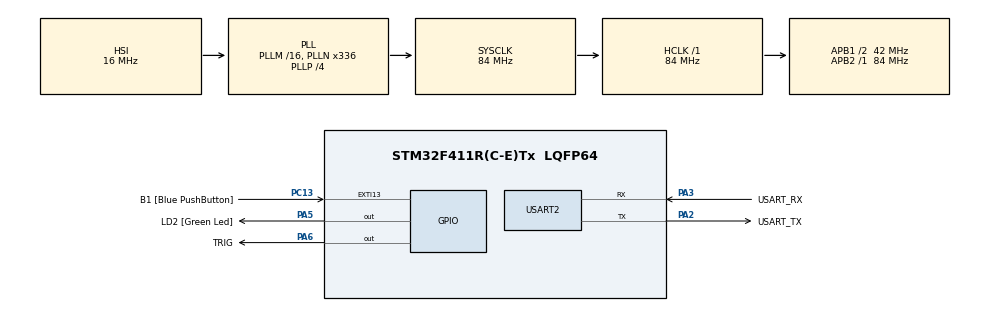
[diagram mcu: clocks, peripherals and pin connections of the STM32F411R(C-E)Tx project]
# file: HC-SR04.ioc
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Mcu.Family=STM32F4
Mcu.Name=STM32F411R(C-E)Tx
Mcu.Package=LQFP64
NVIC.PriorityGroup=NVIC_PRIORITYGROUP_0
NVIC.TIM4_IRQn=true\:0\:0\:false\:false\:true\:true\:true\:true
PA13.GPIO_Label=TMS
PA13.Mode=Serial_Wire
PA13.Signal=SYS_JTMS-SWDIO
PA14.GPIO_Label=TCK
PA14.Mode=Serial_Wire
PA14.Signal=SYS_JTCK-SWCLK
PA2.GPIO_Label=USART_TX
PA2.Mode=Asynchronous
PA2.Signal=USART2_TX
PA3.GPIO_Label=USART_RX
PA3.Mode=Asynchronous
PA3.Signal=USART2_RX
PA5.GPIO_Label=LD2 [Green Led]
PA5.Signal=GPIO_Output
PA6.GPIO_Label=TRIG
PA6.GPIO_Speed=GPIO_SPEED_FREQ_VERY_HIGH
PA6.Signal=GPIO_Output
PB3.GPIO_Label=SWO
PB3.Signal=SYS_JTDO-SWO
PC13-ANTI_TAMP.GPIO_Label=B1 [Blue PushButton]
PC13-ANTI_TAMP.GPIO_ModeDefaultEXTI=GPIO_MODE_IT_FALLING
PC13-ANTI_TAMP.Signal=GPXTI13
PC14-OSC32_IN.Mode=LSE-External-Oscillator
PC14-OSC32_IN.Signal=RCC_OSC32_IN
PC15-OSC32_OUT.Mode=LSE-External-Oscillator
PC15-OSC32_OUT.Signal=RCC_OSC32_OUT
PH0\ -\ OSC_IN.Mode=HSE-External-Clock-Source
PH0\ -\ OSC_IN.Signal=RCC_OSC_IN
PH1\ -\ OSC_OUT.Mode=HSE-External-Clock-Source
PH1\ -\ OSC_OUT.Signal=RCC_OSC_OUT
ProjectManager.HeapSize=0x200
ProjectManager.StackSize=0x400
ProjectManager.TargetToolchain=STM32CubeIDE
RCC.48MHZClocksFreq_Value=84000000
RCC.AHBFreq_Value=84000000
RCC.APB1CLKDivider=RCC_HCLK_DIV2
RCC.APB1Freq_Value=42000000
RCC.APB1TimFreq_Value=84000000
RCC.APB2Freq_Value=84000000
RCC.APB2TimFreq_Value=84000000
RCC.CortexFreq_Value=84000000
RCC.FLatency-AdvancedSettings=FLASH_LATENCY_2
RCC.HCLKFreq_Value=84000000
RCC.HSE_VALUE=8000000
RCC.HSI_VALUE=16000000
RCC.PLLN=336
RCC.PLLP=RCC_PLLP_DIV4
RCC.SYSCLKFreq_VALUE=84000000
RCC.SYSCLKSource=RCC_SYSCLKSOURCE_PLLCLK
RCC.VCOOutputFreq_Value=336000000
TIM4.AutoReloadPreload=TIM_AUTORELOAD_PRELOAD_ENABLE
TIM4.ClockDivision=TIM_CLOCKDIVISION_DIV1
TIM4.Period=2500-1
TIM4.Prescaler=8400-1
TIM5.Prescaler=84-1
USART2.VirtualMode=VM_ASYNC
VP_TIM4_VS_ClockSourceINT.Mode=Internal
VP_TIM5_VS_ClockSourceINT.Mode=Internal
board=NUCLEO-F411RE

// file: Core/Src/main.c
/* USER CODE BEGIN Header */
/**
  ******************************************************************************
  * @file           : main.c
  * @brief          : Main program body
  ******************************************************************************
  * @attention
  *
  * Copyright (c) 2022 STMicroelectronics.
  * All rights reserved.
  *
  * This software is licensed under terms that can be found in the LICENSE file
  * in the root directory of this software component.
  * If no LICENSE file comes with this software, it is provided AS-IS.
  *
  ******************************************************************************
  */
/* USER CODE END Header */
#include "main.h"

/* USER CODE BEGIN Includes */
#include "GPIOxDriver.h"
#include "ExtiDriver.h"
#include "stdint.h"
#include "stdio.h"
#include "string.h"
/* USER CODE END Includes */

TIM_HandleTypeDef htim4;
TIM_HandleTypeDef htim5;

UART_HandleTypeDef huart2;

/* USER CODE BEGIN PV */

EXTI_Config_t 	handlerEchoExti = {0};

uint32_t	timeStamp = 0;
uint32_t	timeTravel = 0;
float 		distance = 0;
char		buffer[32] = {0};

/* USER CODE END PV */

void SystemClock_Config(void);
static void MX_GPIO_Init(void);
static void MX_USART2_UART_Init(void);
static void MX_TIM4_Init(void);
static void MX_TIM5_Init(void);
/* USER CODE BEGIN PFP */
void initEXTI(void);
void Delay_us(uint16_t us);
void SendUltraPulse(void);
void send_uart2 (char *string);
void getDistance(uint32_t time);

/* USER CODE END PFP */

int main(void)
{

  /* MCU Configuration--------------------------------------------------------*/

  /* Reset of all peripherals, Initializes the Flash interface and the Systick. */
  HAL_Init();

  /* Configure the system clock */
  SystemClock_Config();

  /* Initialize all configured peripherals */
  MX_GPIO_Init();
  MX_USART2_UART_Init();
  MX_TIM4_Init();
  MX_TIM5_Init();
  /* USER CODE BEGIN 2 */
  initEXTI();
  HAL_TIM_Base_Start(&htim5);
  HAL_TIM_Base_Start_IT(&htim4);

  /* USER CODE END 2 */

  /* Infinite loop */
  /* USER CODE BEGIN WHILE */
  while (1)
  {
	  SendUltraPulse();
	  HAL_Delay(1000);

    /* USER CODE END WHILE */

  }
}

void SystemClock_Config(void)
{
  RCC_OscInitTypeDef RCC_OscInitStruct = {0};
  RCC_ClkInitTypeDef RCC_ClkInitStruct = {0};

  /** Configure the main internal regulator output voltage
  */
  __HAL_RCC_PWR_CLK_ENABLE();
  __HAL_PWR_VOLTAGESCALING_CONFIG(PWR_REGULATOR_VOLTAGE_SCALE1);

  /** Initializes the RCC Oscillators according to the specified parameters
  * in the RCC_OscInitTypeDef structure.
  */
  RCC_OscInitStruct.OscillatorType = RCC_OSCILLATORTYPE_HSI;
  RCC_OscInitStruct.HSIState = RCC_HSI_ON;
  RCC_OscInitStruct.HSICalibrationValue = RCC_HSICALIBRATION_DEFAULT;
  RCC_OscInitStruct.PLL.PLLState = RCC_PLL_ON;
  RCC_OscInitStruct.PLL.PLLSource = RCC_PLLSOURCE_HSI;
  RCC_OscInitStruct.PLL.PLLM = 16;
  RCC_OscInitStruct.PLL.PLLN = 336;
  RCC_OscInitStruct.PLL.PLLP = RCC_PLLP_DIV4;
  RCC_OscInitStruct.PLL.PLLQ = 4;
  if (HAL_RCC_OscConfig(&RCC_OscInitStruct) != HAL_OK)
  {
    Error_Handler();
  }

  /** Initializes the CPU, AHB and APB buses clocks
  */
  RCC_ClkInitStruct.ClockType = RCC_CLOCKTYPE_HCLK|RCC_CLOCKTYPE_SYSCLK
                              |RCC_CLOCKTYPE_PCLK1|RCC_CLOCKTYPE_PCLK2;
  RCC_ClkInitStruct.SYSCLKSource = RCC_SYSCLKSOURCE_PLLCLK;
  RCC_ClkInitStruct.AHBCLKDivider = RCC_SYSCLK_DIV1;
  RCC_ClkInitStruct.APB1CLKDivider = RCC_HCLK_DIV2;
  RCC_ClkInitStruct.APB2CLKDivider = RCC_HCLK_DIV1;

  if (HAL_RCC_ClockConfig(&RCC_ClkInitStruct, FLASH_LATENCY_2) != HAL_OK)
  {
    Error_Handler();
  }
}

static void MX_TIM4_Init(void)
{

  TIM_ClockConfigTypeDef sClockSourceConfig = {0};
  TIM_MasterConfigTypeDef sMasterConfig = {0};

  htim4.Instance = TIM4;
  htim4.Init.Prescaler = 8400-1;
  htim4.Init.CounterMode = TIM_COUNTERMODE_UP;
  htim4.Init.Period = 2500-1;
  htim4.Init.ClockDivision = TIM_CLOCKDIVISION_DIV1;
  htim4.Init.AutoReloadPreload = TIM_AUTORELOAD_PRELOAD_ENABLE;
  if (HAL_TIM_Base_Init(&htim4) != HAL_OK)
  {
    Error_Handler();
  }
  sClockSourceConfig.ClockSource = TIM_CLOCKSOURCE_INTERNAL;
  if (HAL_TIM_ConfigClockSource(&htim4, &sClockSourceConfig) != HAL_OK)
  {
    Error_Handler();
  }
  sMasterConfig.MasterOutputTrigger = TIM_TRGO_RESET;
  sMasterConfig.MasterSlaveMode = TIM_MASTERSLAVEMODE_DISABLE;
  if (HAL_TIMEx_MasterConfigSynchronization(&htim4, &sMasterConfig) != HAL_OK)
  {
    Error_Handler();
  }

}

static void MX_TIM5_Init(void)
{

  TIM_ClockConfigTypeDef sClockSourceConfig = {0};
  TIM_MasterConfigTypeDef sMasterConfig = {0};

  htim5.Instance = TIM5;
  htim5.Init.Prescaler = 84-1;
  htim5.Init.CounterMode = TIM_COUNTERMODE_UP;
  htim5.Init.Period = 4294967295;
  htim5.Init.ClockDivision = TIM_CLOCKDIVISION_DIV1;
  htim5.Init.AutoReloadPreload = TIM_AUTORELOAD_PRELOAD_DISABLE;
  if (HAL_TIM_Base_Init(&htim5) != HAL_OK)
  {
    Error_Handler();
  }
  sClockSourceConfig.ClockSource = TIM_CLOCKSOURCE_INTERNAL;
  if (HAL_TIM_ConfigClockSource(&htim5, &sClockSourceConfig) != HAL_OK)
  {
    Error_Handler();
  }
  sMasterConfig.MasterOutputTrigger = TIM_TRGO_RESET;
  sMasterConfig.MasterSlaveMode = TIM_MASTERSLAVEMODE_DISABLE;
  if (HAL_TIMEx_MasterConfigSynchronization(&htim5, &sMasterConfig) != HAL_OK)
  {
    Error_Handler();
  }

}

static void MX_USART2_UART_Init(void)
{

  huart2.Instance = USART2;
  huart2.Init.BaudRate = 115200;
  huart2.Init.WordLength = UART_WORDLENGTH_8B;
  huart2.Init.StopBits = UART_STOPBITS_1;
  huart2.Init.Parity = UART_PARITY_NONE;
  huart2.Init.Mode = UART_MODE_TX_RX;
  huart2.Init.HwFlowCtl = UART_HWCONTROL_NONE;
  huart2.Init.OverSampling = UART_OVERSAMPLING_16;
  if (HAL_UART_Init(&huart2) != HAL_OK)
  {
    Error_Handler();
  }

}

static void MX_GPIO_Init(void)
{
  GPIO_InitTypeDef GPIO_InitStruct = {0};

  /* GPIO Ports Clock Enable */
  __HAL_RCC_GPIOC_CLK_ENABLE();
  __HAL_RCC_GPIOH_CLK_ENABLE();
  __HAL_RCC_GPIOA_CLK_ENABLE();
  __HAL_RCC_GPIOB_CLK_ENABLE();

  /*Configure GPIO pin Output Level */
  HAL_GPIO_WritePin(GPIOA, LD2_Pin|TRIG_Pin, GPIO_PIN_RESET);

  /*Configure GPIO pin : B1_Pin */
  GPIO_InitStruct.Pin = B1_Pin;
  GPIO_InitStruct.Mode = GPIO_MODE_IT_FALLING;
  GPIO_InitStruct.Pull = GPIO_NOPULL;
  HAL_GPIO_Init(B1_GPIO_Port, &GPIO_InitStruct);

  /*Configure GPIO pin : LD2_Pin */
  GPIO_InitStruct.Pin = LD2_Pin;
  GPIO_InitStruct.Mode = GPIO_MODE_OUTPUT_PP;
  GPIO_InitStruct.Pull = GPIO_NOPULL;
  GPIO_InitStruct.Speed = GPIO_SPEED_FREQ_LOW;
  HAL_GPIO_Init(LD2_GPIO_Port, &GPIO_InitStruct);

  /*Configure GPIO pin : TRIG_Pin */
  GPIO_InitStruct.Pin = TRIG_Pin;
  GPIO_InitStruct.Mode = GPIO_MODE_OUTPUT_PP;
  GPIO_InitStruct.Pull = GPIO_NOPULL;
  GPIO_InitStruct.Speed = GPIO_SPEED_FREQ_VERY_HIGH;
  HAL_GPIO_Init(TRIG_GPIO_Port, &GPIO_InitStruct);

}

/* USER CODE BEGIN 4 */

void initEXTI(void){
	handlerEchoExti.EXTIx				= EXTI7;
	handlerEchoExti.pinPort				= PA;
	handlerEchoExti.pinPUPD_Mode     	= GPIO_PUPDR_PULLDOWN;
	handlerEchoExti.triggerMode			= FALLING_RISING_TRIGGER;
	exti_Config(&handlerEchoExti);
}

void Exti7_Rising_Callback(void){
	timeStamp = htim5.Instance->CNT;
}

void Exti7_Falling_Callback(void){
	timeTravel = htim5.Instance->CNT-timeStamp;
	getDistance(timeTravel);
}

void SendUltraPulse(void){
	Delay_us(5);
	HAL_GPIO_WritePin(TRIG_GPIO_Port, TRIG_Pin, 1);
	Delay_us(10);
	HAL_GPIO_WritePin(TRIG_GPIO_Port, TRIG_Pin, 0);
}

void Delay_us(uint16_t us){
	__HAL_TIM_SET_COUNTER(&htim5, 0);
	while (__HAL_TIM_GET_COUNTER(&htim5) < us);
}

void HAL_TIM_PeriodElapsedCallback(TIM_HandleTypeDef* htim){
    HAL_GPIO_TogglePin(LD2_GPIO_Port, LD2_Pin);
}

void getDistance(uint32_t time){
	distance = (float) time / 58.0;
	sprintf(buffer, "Distance = %f cm\n", distance);
	send_uart2(buffer);
}

void send_uart2 (char *string)
{
	uint16_t len = strlen (string);
	HAL_UART_Transmit(&huart2, (uint8_t *) string, len, HAL_MAX_DELAY);  // transmit in blocking mode
}

/* USER CODE END 4 */

void Error_Handler(void)
{
  __disable_irq();
  while (1)
  {
  }
}
